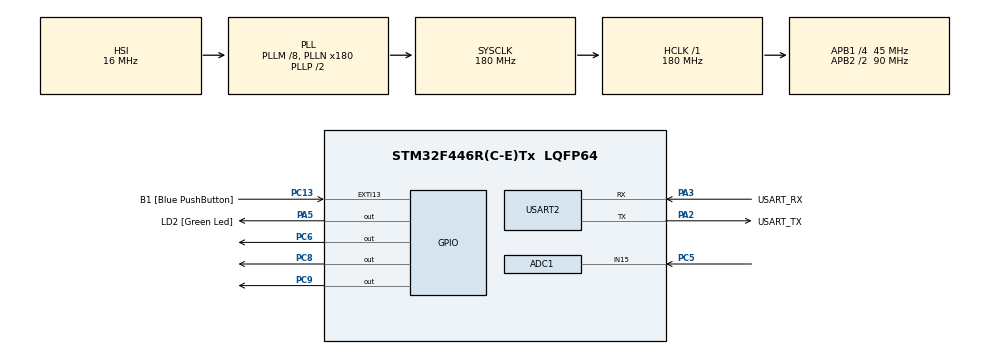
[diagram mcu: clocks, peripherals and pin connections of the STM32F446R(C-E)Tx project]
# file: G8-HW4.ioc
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ADC1.Channel-4\#ChannelRegularConversion=ADC_CHANNEL_15
ADC1.NbrOfConversionFlag=1
ADC1.Rank-4\#ChannelRegularConversion=1
ADC1.SamplingTime-4\#ChannelRegularConversion=ADC_SAMPLETIME_3CYCLES
ADC1.master=1
Mcu.Family=STM32F4
Mcu.Name=STM32F446R(C-E)Tx
Mcu.Package=LQFP64
NVIC.PriorityGroup=NVIC_PRIORITYGROUP_0
PA13.GPIO_Label=TMS
PA13.Mode=Serial_Wire
PA13.Signal=SYS_JTMS-SWDIO
PA14.GPIO_Label=TCK
PA14.Mode=Serial_Wire
PA14.Signal=SYS_JTCK-SWCLK
PA2.GPIO_Label=USART_TX
PA2.Mode=Asynchronous
PA2.Signal=USART2_TX
PA3.GPIO_Label=USART_RX
PA3.Mode=Asynchronous
PA3.Signal=USART2_RX
PA5.GPIO_Label=LD2 [Green Led]
PA5.Signal=GPIO_Output
PB3.GPIO_Label=SWO
PB3.Signal=SYS_JTDO-SWO
PC13.GPIO_Label=B1 [Blue PushButton]
PC13.GPIO_ModeDefaultEXTI=GPIO_MODE_IT_FALLING
PC13.Signal=GPXTI13
PC14-OSC32_IN.Signal=RCC_OSC32_IN
PC15-OSC32_OUT.Signal=RCC_OSC32_OUT
PC5.Signal=ADCx_IN15
PC6.Signal=GPIO_Output
PC8.Signal=GPIO_Output
PC9.Signal=GPIO_Output
PH0-OSC_IN.Mode=HSE-External-Clock-Source
PH0-OSC_IN.Signal=RCC_OSC_IN
PH1-OSC_OUT.Mode=HSE-External-Clock-Source
PH1-OSC_OUT.Signal=RCC_OSC_OUT
ProjectManager.HeapSize=0x200
ProjectManager.StackSize=0x400
ProjectManager.TargetToolchain=SW4STM32
RCC.48MHZClocksFreq_Value=84000000
RCC.AHBFreq_Value=180000000
RCC.APB1CLKDivider=RCC_HCLK_DIV4
RCC.APB1Freq_Value=45000000
RCC.APB1TimFreq_Value=90000000
RCC.APB2CLKDivider=RCC_HCLK_DIV2
RCC.APB2Freq_Value=90000000
RCC.APB2TimFreq_Value=180000000
RCC.CortexFreq_Value=180000000
RCC.FLatency-AdvancedSettings=FLASH_LATENCY_5
RCC.HCLKFreq_Value=180000000
RCC.HSE_VALUE=8000000
RCC.HSI_VALUE=16000000
RCC.PLLM=8
RCC.PLLN=180
RCC.SYSCLKFreq_VALUE=180000000
RCC.SYSCLKSource=RCC_SYSCLKSOURCE_PLLCLK
RCC.USBFreq_Value=180000000
RCC.VCOOutputFreq_Value=360000000
SH.ADCx_IN15.0=ADC1_IN15,IN15
USART2.VirtualMode=VM_ASYNC
board=NUCLEO-F446RE

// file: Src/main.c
/**
  ******************************************************************************
  * @file           : main.c
  * @brief          : Main program body
  ******************************************************************************
  ** This notice applies to any and all portions of this file
  * that are not between comment pairs USER CODE BEGIN and
  * USER CODE END. Other portions of this file, whether
  * inserted by the user or by software development tools
  * are owned by their respective copyright owners.
  *
  * COPYRIGHT(c) 2018 STMicroelectronics
  *
  * Redistribution and use in source and binary forms, with or without modification,
  * are permitted provided that the following conditions are met:
  *   1. Redistributions of source code must retain the above copyright notice,
  *      this list of conditions and the following disclaimer.
  *   2. Redistributions in binary form must reproduce the above copyright notice,
  *      this list of conditions and the following disclaimer in the documentation
  *      and/or other materials provided with the distribution.
  *   3. Neither the name of STMicroelectronics nor the names of its contributors
  *      may be used to endorse or promote products derived from this software
  *      without specific prior written permission.
  *
  * THIS SOFTWARE IS PROVIDED BY THE COPYRIGHT HOLDERS AND CONTRIBUTORS "AS IS"
  * AND ANY EXPRESS OR IMPLIED WARRANTIES, INCLUDING, BUT NOT LIMITED TO, THE
  * IMPLIED WARRANTIES OF MERCHANTABILITY AND FITNESS FOR A PARTICULAR PURPOSE ARE
  * DISCLAIMED. IN NO EVENT SHALL THE COPYRIGHT HOLDER OR CONTRIBUTORS BE LIABLE
  * FOR ANY DIRECT, INDIRECT, INCIDENTAL, SPECIAL, EXEMPLARY, OR CONSEQUENTIAL
  * DAMAGES (INCLUDING, BUT NOT LIMITED TO, PROCUREMENT OF SUBSTITUTE GOODS OR
  * SERVICES; LOSS OF USE, DATA, OR PROFITS; OR BUSINESS INTERRUPTION) HOWEVER
  * CAUSED AND ON ANY THEORY OF LIABILITY, WHETHER IN CONTRACT, STRICT LIABILITY,
  * OR TORT (INCLUDING NEGLIGENCE OR OTHERWISE) ARISING IN ANY WAY OUT OF THE USE
  * OF THIS SOFTWARE, EVEN IF ADVISED OF THE POSSIBILITY OF SUCH DAMAGE.
  *
  ******************************************************************************
  */
#include "main.h"
#include "stm32f4xx_hal.h"
#include "adc.h"
#include "usart.h"
#include "gpio.h"

/* USER CODE BEGIN PV */
/* Private variables ---------------------------------------------------------*/

/* USER CODE END PV */

void SystemClock_Config(void);

/* USER CODE BEGIN PFP */
/* Private function prototypes -----------------------------------------------*/

/* USER CODE END PFP */

int main(void)
{

  /* MCU Configuration----------------------------------------------------------*/

  /* Reset of all peripherals, Initializes the Flash interface and the Systick. */
  HAL_Init();

  /* Configure the system clock */
  SystemClock_Config();

  /* Initialize all configured peripherals */
  MX_GPIO_Init();
  MX_USART2_UART_Init();
  MX_ADC1_Init();

  /* Infinite loop */
  /* USER CODE BEGIN WHILE */
  while (1)
  {
	  HAL_GPIO_WritePin(GPIOA, GPIO_PIN_5, 0);
	  HAL_GPIO_WritePin(GPIOC, GPIO_PIN_6, 0);
	  HAL_GPIO_WritePin(GPIOC, GPIO_PIN_8, 0);
	  HAL_GPIO_WritePin(GPIOC, GPIO_PIN_9, 0);
	  /* Start single measurement */
	  HAL_ADC_Start(&hadc1);
	  /* Wait until measurement is completed */
	  HAL_ADC_PollForConversion(&hadc1, 100);
	  /* Obtain the measured value*/

	  uint32_t value = HAL_ADC_GetValue(&hadc1);

	  if ( value < 2150 )
	  {
		  //HAL_GPIO_WritePin(GPIOC, GPIO_PIN_6, 0);
		  HAL_GPIO_WritePin(GPIOC, GPIO_PIN_8, 1);
		  //HAL_GPIO_WritePin(GPIOC, GPIO_PIN_9, 0);
		  HAL_Delay(300);
	  }
	  if ( value < 2200 )
	  {
		  //HAL_GPIO_WritePin(GPIOC, GPIO_PIN_6, 0);
		  //HAL_GPIO_WritePin(GPIOC, GPIO_PIN_8, 1);
		  HAL_GPIO_WritePin(GPIOC, GPIO_PIN_9, 1);
		  HAL_Delay(300);
	  }
	  if ( value < 2300 )
	  {
		  HAL_GPIO_WritePin(GPIOC, GPIO_PIN_6, 1);
		  //HAL_GPIO_WritePin(GPIOC, GPIO_PIN_8, 0);
		  //HAL_GPIO_WritePin(GPIOC, GPIO_PIN_9, 0);
		  HAL_Delay(300);
	  }
	  if ( value > 2500 )
	  {
		  HAL_GPIO_WritePin(GPIOC, GPIO_PIN_6, 0);
		  HAL_GPIO_WritePin(GPIOC, GPIO_PIN_8, 0);
		  HAL_GPIO_WritePin(GPIOC, GPIO_PIN_9, 0);
		  HAL_Delay(600);
	  }

  /* USER CODE END WHILE */

  }

}

void SystemClock_Config(void)
{

  RCC_OscInitTypeDef RCC_OscInitStruct;
  RCC_ClkInitTypeDef RCC_ClkInitStruct;

    /**Configure the main internal regulator output voltage
    */
  __HAL_RCC_PWR_CLK_ENABLE();

  __HAL_PWR_VOLTAGESCALING_CONFIG(PWR_REGULATOR_VOLTAGE_SCALE1);

    /**Initializes the CPU, AHB and APB busses clocks
    */
  RCC_OscInitStruct.OscillatorType = RCC_OSCILLATORTYPE_HSI;
  RCC_OscInitStruct.HSIState = RCC_HSI_ON;
  RCC_OscInitStruct.HSICalibrationValue = 16;
  RCC_OscInitStruct.PLL.PLLState = RCC_PLL_ON;
  RCC_OscInitStruct.PLL.PLLSource = RCC_PLLSOURCE_HSI;
  RCC_OscInitStruct.PLL.PLLM = 8;
  RCC_OscInitStruct.PLL.PLLN = 180;
  RCC_OscInitStruct.PLL.PLLP = RCC_PLLP_DIV2;
  RCC_OscInitStruct.PLL.PLLQ = 2;
  RCC_OscInitStruct.PLL.PLLR = 2;
  if (HAL_RCC_OscConfig(&RCC_OscInitStruct) != HAL_OK)
  {
    _Error_Handler(__FILE__, __LINE__);
  }

    /**Activate the Over-Drive mode
    */
  if (HAL_PWREx_EnableOverDrive() != HAL_OK)
  {
    _Error_Handler(__FILE__, __LINE__);
  }

    /**Initializes the CPU, AHB and APB busses clocks
    */
  RCC_ClkInitStruct.ClockType = RCC_CLOCKTYPE_HCLK|RCC_CLOCKTYPE_SYSCLK
                              |RCC_CLOCKTYPE_PCLK1|RCC_CLOCKTYPE_PCLK2;
  RCC_ClkInitStruct.SYSCLKSource = RCC_SYSCLKSOURCE_PLLCLK;
  RCC_ClkInitStruct.AHBCLKDivider = RCC_SYSCLK_DIV1;
  RCC_ClkInitStruct.APB1CLKDivider = RCC_HCLK_DIV4;
  RCC_ClkInitStruct.APB2CLKDivider = RCC_HCLK_DIV2;

  if (HAL_RCC_ClockConfig(&RCC_ClkInitStruct, FLASH_LATENCY_5) != HAL_OK)
  {
    _Error_Handler(__FILE__, __LINE__);
  }

    /**Configure the Systick interrupt time
    */
  HAL_SYSTICK_Config(HAL_RCC_GetHCLKFreq()/1000);

    /**Configure the Systick
    */
  HAL_SYSTICK_CLKSourceConfig(SYSTICK_CLKSOURCE_HCLK);

  /* SysTick_IRQn interrupt configuration */
  HAL_NVIC_SetPriority(SysTick_IRQn, 0, 0);
}

void _Error_Handler(char *file, int line)
{
  while(1)
  {
  }
}

/************************ (C) COPYRIGHT STMicroelectronics *****END OF FILE****/
